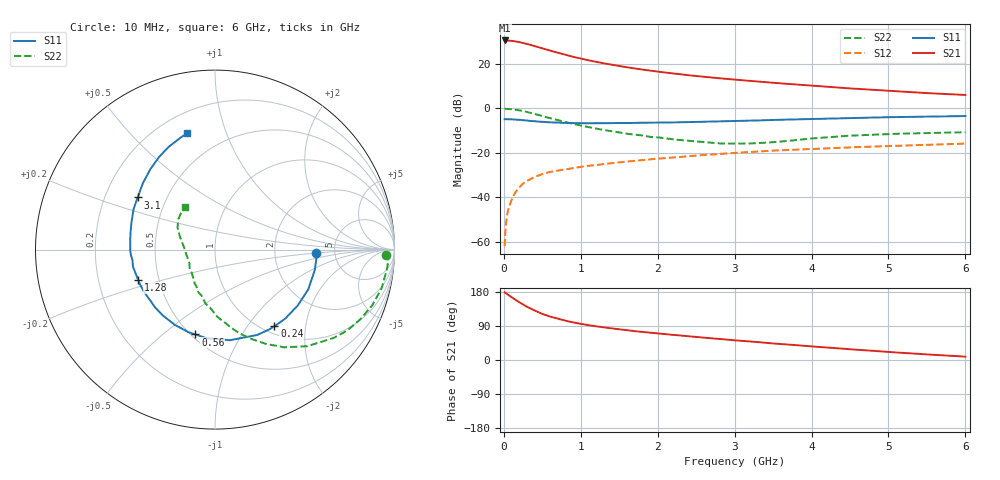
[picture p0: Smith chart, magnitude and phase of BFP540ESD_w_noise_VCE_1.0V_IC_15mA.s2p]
! Infineon Technologies  Discrete & RF Semiconductors
! BFP540ESD
! VCE =  1.0 V,  IC =  15 mA
! Common Emitter S-Parameters:  Nov 2015
# GHz  S  MA  R  50
!  f  S11  S21  S12  S22
! GHz  MAG  ANG  MAG  ANG  MAG  ANG  MAG  ANG
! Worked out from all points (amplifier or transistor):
!   210 points, 10 MHz to 6 GHz, reference 50 ohm
!   highest |S21| = 30.4 dB at 10 MHz (marker M1)
!   |S21| within 3 dB of that: start of sweep to 448.6 MHz
!   unconditionally stable (mu >= 1): start of sweep to 10.00354 MHz; 2.321 GHz to end of sweep
!   at 185 MHz: K = 0.16, MSG = 33.0 dB, |S12| = -36.2 dB
!   at 1.52 GHz: K = 0.84, MSG = 21.5 dB, |S12| = -24.3 dB
!   at 6 GHz: K = 1.13, MAG = 8.7 dB, |S12| = -15.9 dB
!   lowest NFmin = 1.03 dB at 900 MHz
!   S11 on the Smith chart (normalised r, x): 10 MHz: 3.59, -0.22; 240 MHz: 1.12, -1.36; 560 MHz: 0.53, -0.65; 1.28 GHz: 0.38, -0.16; 3.1 GHz: 0.34, +0.27; 6 GHz: 0.32, +0.74
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0.01  0.5653 -2.1  33.16 178.4  0.0008 109.0  0.9528 -1.7
0.04  0.5666 -9.4  32.93 174.4  0.0037 86.0  0.9656 -5.0
0.1  0.5651 -22.9  32.57 165.8  0.0086 81.1  0.9529 -13.1
0.16  0.5535 -36.0  31.45 157.6  0.0136 77.3  0.9225 -20.7
0.2  0.5488 -44.4  30.54 152.3  0.0166 74.9  0.8982 -25.6
0.24  0.5407 -52.2  29.44 147.4  0.0196 72.5  0.8699 -30.3
0.3  0.5305 -63.7  27.79 140.4  0.0233 67.4  0.8239 -36.7
0.4  0.5118 -80.6  24.85 130.3  0.0285 62.4  0.7446 -46.3
0.5  0.4958 -95.7  22.16 121.6  0.0332 59.1  0.6672 -54.7
0.56  0.4853 -103.0  20.61 117.6  0.0355 56.7  0.6248 -58.6
0.6  0.4829 -108.0  19.64 114.6  0.0371 55.3  0.5984 -61.5
0.7  0.4752 -118.2  17.62 108.8  0.0397 53.5  0.5397 -67.6
0.8  0.4681 -128.2  15.78 103.6  0.0425 52.3  0.488 -73.5
1.02  0.4589 -144.2  12.77 94.7  0.0489 50.4  0.4007 -83.7
1.28  0.4602 -158.5  10.33 86.7  0.0552 49.0  0.3288 -94.1
1.6  0.4634 -172.5  8.285 78.5  0.0633 47.3  0.2662 -106.4
2.02  0.4757 173.3  6.556 69.6  0.0737 45.5  0.2196 -121.0
2.6  0.4969 157.6  5.06 58.9  0.0891 42.3  0.1746 -144.0
3.1  0.5199 146.0  4.238 50.5  0.1015 38.8  0.1605 -165.5
4.1  0.58 127.1  3.116 34.4  0.1235 30.2  0.215 157.3
5.1  0.6315 113.0  2.403 19.9  0.1432 21.6  0.2662 139.6
6  0.667 103.5  1.982 8.8  0.1606 15.3  0.2893 125.2
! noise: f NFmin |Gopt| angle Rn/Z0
0.9  1.03  0.22  -135  0.11
1.8  1.2  0.25  -147  0.1
2.4  1.21  0.25  -139  0.1
3  1.32  0.29  -136  0.11
4  1.4  0.41  -108  0.2
5  1.57  0.5  -90  0.3
6  1.83  0.54  -91  0.52
